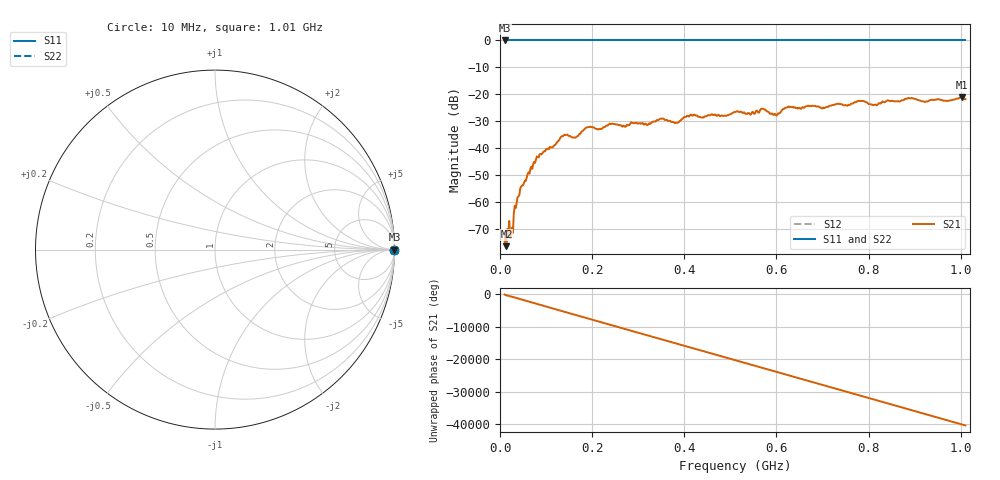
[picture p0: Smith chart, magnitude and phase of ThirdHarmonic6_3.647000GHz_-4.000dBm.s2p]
! 8/17/2025 12:16:04 PM
! C:\ANRITSUVNA\TEMP\TEMP.S2P
! CHANNEL.1
! TR.MEASUREMENT
! RAW.DATA
! RF.CORRECTION.OFF
! AVERAGING.OFF
! IF.BANDWIDTH: 5KHZ
! SWEEPTYPE:  FREQ.SWEEP(Linear)
! Reference Plane Port Info
! PORT:  PORT1  PORT2
! DISTANCE:  0  m  0  m
! TIME:  0  s  0  s
! PHASE.OFFSET:  0  deg.  0  deg.
! LOSS:  0  dB  0  dB
! REF.LOSS:  0  dB  0  dB
! REF.FREQ:  0  Hz  0  Hz
! Power Info
! POWER:  -20  dBm  -20  dBm
! EFF.POWER:  -20  dBm  -20  dBm
! SOURCE.ATTEN:  0  dB  0  dB
! TEST.ATTEN:  0  dB  0  dB
# GHZ S RI R 50.0
! FREQ.GHZ  S11RE  S11IM  S21RE  S21IM  S12RE  S12IM  S22RE  S22IM
!; PortSelection: Port_12
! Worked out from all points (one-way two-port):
!   501 points, 10 MHz to 1.01 GHz, reference 50 ohm
!   highest |S21| = -21.17 dB at 1.002 GHz (marker M1); lowest = -76.6 dB at 14 MHz (marker M2)
!   lowest |S11| = 0.0 dB at 10 MHz (marker M3)
!   |S11| at or under -10 dB: nowhere
!   |S22| runs from 0.0 to 0.0 dB; largest |S21 - S12| = 1.1
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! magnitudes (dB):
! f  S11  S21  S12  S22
! 10 MHz  0.0  -75.4  0.0  0.0
! 14 MHz  0.0  -76.6  0.0  0.0
! 26 MHz  0.0  -69.6  0.0  0.0
! 34 MHz  0.0  -62.3  0.0  0.0
! 44 MHz  0.0  -55.1  0.0  0.0
! 82 MHz  0.0  -43.4  0.0  0.0
! 136 MHz  0.0  -35.7  0.0  0.0
! 162 MHz  0.0  -36.1  0.0  0.0
! 178 MHz  0.0  -33.8  0.0  0.0
! 192 MHz  0.0  -32.2  0.0  0.0
! 322 MHz  0.0  -31.2  0.0  0.0
! 344 MHz  0.0  -29.6  0.0  0.0
! 384 MHz  0.0  -30.6  0.0  0.0
! 410 MHz  0.0  -28.3  0.0  0.0
! 510 MHz  0.0  -26.6  0.0  0.0
! 570 MHz  0.0  -25.4  0.0  0.0
! 598 MHz  0.0  -27.6  0.0  0.0
! 622 MHz  0.0  -25.0  0.0  0.0
! 678 MHz  0.0  -24.3  0.0  0.0
! 844 MHz  0.0  -22.5  0.0  0.0
! 1.002 GHz  0.0  -21.2  0.0  0.0
! 1.01 GHz  0.0  -21.8  0.0  0.0
